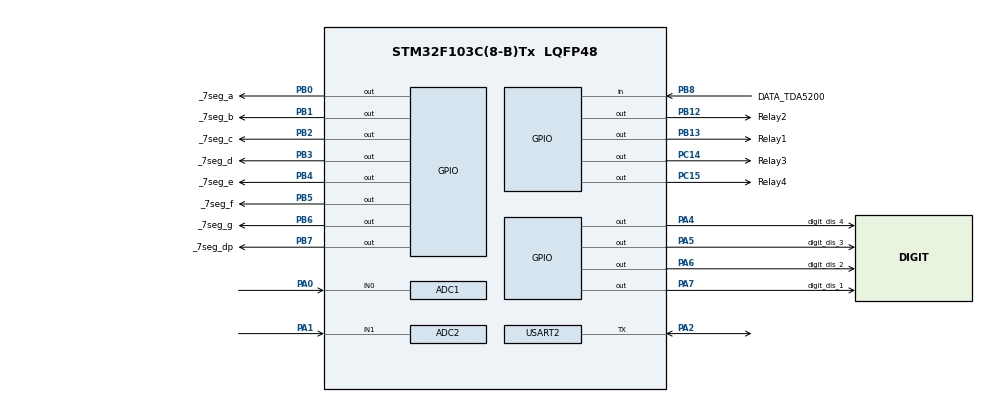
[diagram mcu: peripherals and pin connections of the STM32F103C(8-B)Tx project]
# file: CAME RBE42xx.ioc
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ADC1.Channel-0\#ChannelRegularConversion=ADC_CHANNEL_0
ADC1.NbrOfConversionFlag=1
ADC1.Rank-0\#ChannelRegularConversion=1
ADC1.SamplingTime-0\#ChannelRegularConversion=ADC_SAMPLETIME_1CYCLE_5
ADC1.master=1
ADC2.Channel-0\#ChannelRegularConversion=ADC_CHANNEL_1
ADC2.NbrOfConversionFlag=1
ADC2.Rank-0\#ChannelRegularConversion=1
ADC2.SamplingTime-0\#ChannelRegularConversion=ADC_SAMPLETIME_1CYCLE_5
Mcu.Family=STM32F1
Mcu.Name=STM32F103C(8-B)Tx
Mcu.Package=LQFP48
NVIC.PriorityGroup=NVIC_PRIORITYGROUP_4
NVIC.TIM3_IRQn=true\:0\:0\:false\:false\:true\:true\:true\:true
PA0-WKUP.Signal=ADCx_IN0
PA1.Signal=ADCx_IN1
PA13.Mode=Serial_Wire
PA13.Signal=SYS_JTMS-SWDIO
PA14.Mode=Serial_Wire
PA14.Signal=SYS_JTCK-SWCLK
PA2.Mode=Half_duplex(single_wire_mode)
PA2.Signal=USART2_TX
PA4.GPIO_Label=digit_dis_4
PA4.GPIO_PuPd=GPIO_PULLUP
PA4.PinState=GPIO_PIN_SET
PA4.Signal=GPIO_Output
PA5.GPIO_Label=digit_dis_3
PA5.GPIO_PuPd=GPIO_PULLUP
PA5.PinState=GPIO_PIN_SET
PA5.Signal=GPIO_Output
PA6.GPIO_Label=digit_dis_2
PA6.GPIO_PuPd=GPIO_PULLUP
PA6.PinState=GPIO_PIN_SET
PA6.Signal=GPIO_Output
PA7.GPIO_Label=digit_dis_1
PA7.GPIO_PuPd=GPIO_PULLUP
PA7.PinState=GPIO_PIN_SET
PA7.Signal=GPIO_Output
PB0.GPIO_Label=_7seg_a
PB0.GPIO_PuPd=GPIO_PULLDOWN
PB0.Signal=GPIO_Output
PB1.GPIO_Label=_7seg_b
PB1.GPIO_PuPd=GPIO_PULLDOWN
PB1.Signal=GPIO_Output
PB10.GPIO_Label=EEPROM_SCL
PB10.Signal=I2C2_SCL
PB11.GPIO_Label=EEPROM_SDA
PB11.Signal=I2C2_SDA
PB12.GPIO_Label=Relay2
PB12.Signal=GPIO_Output
PB13.GPIO_Label=Relay1
PB13.Signal=GPIO_Output
PB2.GPIO_Label=_7seg_c
PB2.GPIO_PuPd=GPIO_PULLDOWN
PB2.Signal=GPIO_Output
PB3.GPIO_Label=_7seg_d
PB3.Signal=GPIO_Output
PB4.GPIO_Label=_7seg_e
PB4.GPIO_PuPd=GPIO_PULLDOWN
PB4.Signal=GPIO_Output
PB5.GPIO_Label=_7seg_f
PB5.GPIO_PuPd=GPIO_PULLDOWN
PB5.Signal=GPIO_Output
PB6.GPIO_Label=_7seg_g
PB6.GPIO_PuPd=GPIO_PULLDOWN
PB6.Signal=GPIO_Output
PB7.GPIO_Label=_7seg_dp
PB7.GPIO_PuPd=GPIO_PULLDOWN
PB7.Signal=GPIO_Output
PB8.GPIO_Label=DATA_TDA5200
PB8.Signal=GPIO_Input
PC14-OSC32_IN.GPIO_Label=Relay3
PC14-OSC32_IN.Signal=GPIO_Output
PC15-OSC32_OUT.GPIO_Label=Relay4
PC15-OSC32_OUT.Signal=GPIO_Output
ProjectManager.HeapSize=0x200
ProjectManager.StackSize=0x400
ProjectManager.TargetToolchain=STM32CubeIDE
RCC.APB1Freq_Value=8000000
RCC.APB2Freq_Value=8000000
SH.ADCx_IN0.0=ADC1_IN0,IN0
SH.ADCx_IN1.0=ADC2_IN1,IN1
TIM3.Period=1664
USART2.VirtualMode=VM_ASYNC
VP_TIM3_VS_ClockSourceINT.Mode=Internal
board=custom

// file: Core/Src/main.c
/* USER CODE BEGIN Header */
/**
  ******************************************************************************
  * @file           : main.c
  * @brief          : Main program body
  ******************************************************************************
  * @attention
  *
  * Copyright (c) 2023 STMicroelectronics.
  * All rights reserved.
  *
  * This software is licensed under terms that can be found in the LICENSE file
  * in the root directory of this software component.
  * If no LICENSE file comes with this software, it is provided AS-IS.
  *
  ******************************************************************************
  */
/* USER CODE END Header */
#include "main.h"

/* USER CODE BEGIN Includes */
#include "stdbool.h"
/* USER CODE END Includes */

ADC_HandleTypeDef hadc1;
ADC_HandleTypeDef hadc2;

TIM_HandleTypeDef htim3;

UART_HandleTypeDef huart2;

/* USER CODE BEGIN PV */

int currentBit=0;
bool boolArray[];

/* USER CODE END PV */

void SystemClock_Config(void);
static void MX_GPIO_Init(void);
static void MX_ADC1_Init(void);
static void MX_ADC2_Init(void);
static void MX_TIM3_Init(void);
static void MX_USART2_UART_Init(void);
/* USER CODE BEGIN PFP */

#define PUTCHAR_PROTOTYPE int __io_putchar(int ch)

/* USER CODE END PFP */

/* USER CODE BEGIN 0 */

void TIM3_test(){
	//for (int a=1; a<20; a++){

		//int delai=100;
		//HAL_GPIO_WritePin(TXDATA_GPIO_Port, TXDATA_Pin, GPIO_PIN_SET);
		//HAL_GPIO_WritePin(LED_GPIO_Port, LED_Pin, GPIO_PIN_SET);

		//printf(htim22.Instance->CNT);
		//int test = htim22.Instance->CNT;

		//sprintf(UartBuffOut, "test");
		//HAL_UART_Transmit(&huart1, UartBuffOut, strlen(UartBuffOut), 1000);

		//printf("test");
		//sprintf("test2");
		//HAL_GPIO_WritePin(TXDATA_GPIO_Port, TXDATA_Pin, GPIO_PIN_RESET);
		//HAL_GPIO_WritePin(LED_GPIO_Port, LED_Pin, GPIO_PIN_RESET);

	//}

}

bool boolArray[99];

/* USER CODE END 0 */

int main(void)
{

  /* MCU Configuration--------------------------------------------------------*/

  /* Reset of all peripherals, Initializes the Flash interface and the Systick. */
  HAL_Init();

  /* Configure the system clock */
  SystemClock_Config();

  /* Initialize all configured peripherals */
  MX_GPIO_Init();
  MX_ADC1_Init();
  MX_ADC2_Init();
  MX_TIM3_Init();
  MX_USART2_UART_Init();

  /* Infinite loop */
  while (1)
  {

    /* USER CODE BEGIN 3 */

	/*
	HAL_GPIO_WritePin(GPIOA, digit_dis_1_Pin, GPIO_PIN_SET);
	HAL_GPIO_WritePin(GPIOA, digit_dis_2_Pin, GPIO_PIN_SET);
	HAL_GPIO_WritePin(GPIOA, digit_dis_3_Pin, GPIO_PIN_SET);
	HAL_GPIO_WritePin(GPIOA, digit_dis_4_Pin, GPIO_PIN_SET);

	HAL_GPIO_WritePin(GPIOB, _7seg_a_Pin, GPIO_PIN_SET);
	HAL_GPIO_WritePin(GPIOB, _7seg_b_Pin, GPIO_PIN_SET);
	HAL_GPIO_WritePin(GPIOB, _7seg_c_Pin, GPIO_PIN_SET);
	HAL_GPIO_WritePin(GPIOB, _7seg_d_Pin, GPIO_PIN_SET);
	HAL_GPIO_WritePin(GPIOB, _7seg_e_Pin, GPIO_PIN_SET);
	HAL_GPIO_WritePin(GPIOB, _7seg_f_Pin, GPIO_PIN_SET);
	HAL_GPIO_WritePin(GPIOB, _7seg_g_Pin, GPIO_PIN_SET);
	HAL_GPIO_WritePin(GPIOB, _7seg_dp_Pin, GPIO_PIN_SET);

	//HAL_Delay(100);
	HAL_GPIO_WritePin(GPIOA, digit_dis_1_Pin, GPIO_PIN_SET);
	HAL_GPIO_WritePin(GPIOA, digit_dis_2_Pin, GPIO_PIN_SET);
	HAL_GPIO_WritePin(GPIOA, digit_dis_3_Pin, GPIO_PIN_SET);
	HAL_GPIO_WritePin(GPIOA, digit_dis_4_Pin, GPIO_PIN_SET);
	HAL_GPIO_WritePin(GPIOA, digit_dis_1_Pin, GPIO_PIN_RESET);
	HAL_Delay(1);
	HAL_GPIO_WritePin(GPIOA, digit_dis_1_Pin, GPIO_PIN_SET);
	HAL_GPIO_WritePin(GPIOA, digit_dis_2_Pin, GPIO_PIN_SET);
	HAL_GPIO_WritePin(GPIOA, digit_dis_3_Pin, GPIO_PIN_SET);
	HAL_GPIO_WritePin(GPIOA, digit_dis_4_Pin, GPIO_PIN_SET);
	HAL_GPIO_WritePin(GPIOA, digit_dis_2_Pin, GPIO_PIN_RESET);
	HAL_Delay(1);
	HAL_GPIO_WritePin(GPIOA, digit_dis_1_Pin, GPIO_PIN_SET);
	HAL_GPIO_WritePin(GPIOA, digit_dis_2_Pin, GPIO_PIN_SET);
	HAL_GPIO_WritePin(GPIOA, digit_dis_3_Pin, GPIO_PIN_SET);
	HAL_GPIO_WritePin(GPIOA, digit_dis_4_Pin, GPIO_PIN_SET);
	HAL_GPIO_WritePin(GPIOA, digit_dis_3_Pin, GPIO_PIN_RESET);
	HAL_Delay(1);
	HAL_GPIO_WritePin(GPIOA, digit_dis_1_Pin, GPIO_PIN_SET);
	HAL_GPIO_WritePin(GPIOA, digit_dis_2_Pin, GPIO_PIN_SET);
	HAL_GPIO_WritePin(GPIOA, digit_dis_3_Pin, GPIO_PIN_SET);
	HAL_GPIO_WritePin(GPIOA, digit_dis_4_Pin, GPIO_PIN_SET);
	HAL_GPIO_WritePin(GPIOA, digit_dis_4_Pin, GPIO_PIN_RESET);
	HAL_Delay(1);
	*/

	HAL_GPIO_WritePin(GPIOB, _7seg_a_Pin, GPIO_PIN_SET);
	HAL_GPIO_WritePin(GPIOB, _7seg_b_Pin, GPIO_PIN_SET);
	HAL_GPIO_WritePin(GPIOB, _7seg_c_Pin, GPIO_PIN_SET);
	HAL_GPIO_WritePin(GPIOB, _7seg_d_Pin, GPIO_PIN_SET);
	HAL_GPIO_WritePin(GPIOB, _7seg_e_Pin, GPIO_PIN_SET);
	HAL_GPIO_WritePin(GPIOB, _7seg_f_Pin, GPIO_PIN_SET);
	HAL_GPIO_WritePin(GPIOB, _7seg_g_Pin, GPIO_PIN_SET);
	HAL_GPIO_WritePin(GPIOB, _7seg_dp_Pin, GPIO_PIN_SET);

	HAL_ADC_Start(&hadc1);
	HAL_ADC_Start(&hadc2);
	HAL_ADC_PollForConversion(&hadc1, HAL_MAX_DELAY);
	HAL_ADC_PollForConversion(&hadc2, HAL_MAX_DELAY);

	uint32_t adc1_value = HAL_ADC_GetValue(&hadc1);
	uint32_t adc2_value = HAL_ADC_GetValue(&hadc2);

	bool rf_data;

	//while (rf_data != 0){

		if (HAL_GPIO_ReadPin(DATA_TDA5200_GPIO_Port, DATA_TDA5200_Pin) == GPIO_PIN_RESET) {
			if (HAL_TIM_Base_Start_IT(&htim3) != HAL_OK) //Timer 3 start
			{
			/* Starting Error */
			Error_Handler();
			}
			while (currentBit < 100) {} //wait

			HAL_TIM_Base_Stop_IT(&htim3); //Timer 3 stop
			if (currentBit >= 99) {currentBit = 0;}

			if ( (boolArray[58] == 0) && (boolArray[57] == 0) && (boolArray[56] == 0) && (boolArray[55] == 1) && (boolArray[54] == 1) && (boolArray[53] == 0) && (boolArray[52] == 1) && (boolArray[51] == 1) && (boolArray[50] == 1)  )
			{
				HAL_GPIO_TogglePin(Relay1_GPIO_Port, Relay1_Pin);
				for (int i=0; i<65; i++)
				{
					printf("%d", boolArray[i]);
				}
				printf("\n");
				HAL_Delay(800);
			}
		}
		//boolArray;

		/*int __io_putchar(int ch) {
		    ITM_SendChar(ch);
		    return ch;
		}*/
		/*
		else if(rf_data == 1){
			HAL_GPIO_WritePin(GPIOA, digit_dis_1_Pin, GPIO_PIN_SET);
			HAL_GPIO_WritePin(GPIOA, digit_dis_2_Pin, GPIO_PIN_SET);
			HAL_GPIO_WritePin(GPIOA, digit_dis_3_Pin, GPIO_PIN_SET);
			HAL_GPIO_WritePin(GPIOA, digit_dis_4_Pin, GPIO_PIN_SET);
			//HAL_Delay(10);
		}
		*/

  	  //}

		if (adc2_value < 1000){
		HAL_GPIO_WritePin(GPIOA, digit_dis_1_Pin, GPIO_PIN_SET);
		HAL_GPIO_WritePin(GPIOA, digit_dis_2_Pin, GPIO_PIN_SET);
		HAL_GPIO_WritePin(GPIOA, digit_dis_3_Pin, GPIO_PIN_SET);
		HAL_GPIO_WritePin(GPIOA, digit_dis_4_Pin, GPIO_PIN_SET);
		HAL_GPIO_WritePin(GPIOA, digit_dis_1_Pin, GPIO_PIN_RESET);
		//printf("Hello World!\n");
		HAL_Delay(100);
	}

	else if (adc1_value < 1000){
		HAL_GPIO_WritePin(GPIOA, digit_dis_1_Pin, GPIO_PIN_SET);
		HAL_GPIO_WritePin(GPIOA, digit_dis_2_Pin, GPIO_PIN_SET);
		HAL_GPIO_WritePin(GPIOA, digit_dis_3_Pin, GPIO_PIN_SET);
		HAL_GPIO_WritePin(GPIOA, digit_dis_4_Pin, GPIO_PIN_SET);
		HAL_GPIO_WritePin(GPIOA, digit_dis_2_Pin, GPIO_PIN_RESET);
		HAL_Delay(100);
	}
	else if (adc2_value > 2000){
		HAL_GPIO_WritePin(GPIOA, digit_dis_1_Pin, GPIO_PIN_SET);
		HAL_GPIO_WritePin(GPIOA, digit_dis_2_Pin, GPIO_PIN_SET);
		HAL_GPIO_WritePin(GPIOA, digit_dis_3_Pin, GPIO_PIN_SET);
		HAL_GPIO_WritePin(GPIOA, digit_dis_4_Pin, GPIO_PIN_SET);
		HAL_GPIO_WritePin(GPIOA, digit_dis_3_Pin, GPIO_PIN_RESET);
		HAL_Delay(100);
	}
	else if (adc1_value > 2000){
		HAL_GPIO_WritePin(GPIOA, digit_dis_1_Pin, GPIO_PIN_SET);
		HAL_GPIO_WritePin(GPIOA, digit_dis_2_Pin, GPIO_PIN_SET);
		HAL_GPIO_WritePin(GPIOA, digit_dis_3_Pin, GPIO_PIN_SET);
		HAL_GPIO_WritePin(GPIOA, digit_dis_4_Pin, GPIO_PIN_SET);
		HAL_GPIO_WritePin(GPIOA, digit_dis_4_Pin, GPIO_PIN_RESET);
		HAL_Delay(100);
	}

  }
  /* USER CODE END 3 */
}

void SystemClock_Config(void)
{
  RCC_OscInitTypeDef RCC_OscInitStruct = {0};
  RCC_ClkInitTypeDef RCC_ClkInitStruct = {0};
  RCC_PeriphCLKInitTypeDef PeriphClkInit = {0};

  /** Initializes the RCC Oscillators according to the specified parameters
  * in the RCC_OscInitTypeDef structure.
  */
  RCC_OscInitStruct.OscillatorType = RCC_OSCILLATORTYPE_HSI;
  RCC_OscInitStruct.HSIState = RCC_HSI_ON;
  RCC_OscInitStruct.HSICalibrationValue = RCC_HSICALIBRATION_DEFAULT;
  RCC_OscInitStruct.PLL.PLLState = RCC_PLL_NONE;
  if (HAL_RCC_OscConfig(&RCC_OscInitStruct) != HAL_OK)
  {
    Error_Handler();
  }

  /** Initializes the CPU, AHB and APB buses clocks
  */
  RCC_ClkInitStruct.ClockType = RCC_CLOCKTYPE_HCLK|RCC_CLOCKTYPE_SYSCLK
                              |RCC_CLOCKTYPE_PCLK1|RCC_CLOCKTYPE_PCLK2;
  RCC_ClkInitStruct.SYSCLKSource = RCC_SYSCLKSOURCE_HSI;
  RCC_ClkInitStruct.AHBCLKDivider = RCC_SYSCLK_DIV1;
  RCC_ClkInitStruct.APB1CLKDivider = RCC_HCLK_DIV1;
  RCC_ClkInitStruct.APB2CLKDivider = RCC_HCLK_DIV1;

  if (HAL_RCC_ClockConfig(&RCC_ClkInitStruct, FLASH_LATENCY_0) != HAL_OK)
  {
    Error_Handler();
  }
  PeriphClkInit.PeriphClockSelection = RCC_PERIPHCLK_ADC;
  PeriphClkInit.AdcClockSelection = RCC_ADCPCLK2_DIV2;
  if (HAL_RCCEx_PeriphCLKConfig(&PeriphClkInit) != HAL_OK)
  {
    Error_Handler();
  }
}

static void MX_ADC1_Init(void)
{

  ADC_ChannelConfTypeDef sConfig = {0};

  /** Common config
  */
  hadc1.Instance = ADC1;
  hadc1.Init.ScanConvMode = ADC_SCAN_DISABLE;
  hadc1.Init.ContinuousConvMode = DISABLE;
  hadc1.Init.DiscontinuousConvMode = DISABLE;
  hadc1.Init.ExternalTrigConv = ADC_SOFTWARE_START;
  hadc1.Init.DataAlign = ADC_DATAALIGN_RIGHT;
  hadc1.Init.NbrOfConversion = 1;
  if (HAL_ADC_Init(&hadc1) != HAL_OK)
  {
    Error_Handler();
  }

  /** Configure Regular Channel
  */
  sConfig.Channel = ADC_CHANNEL_0;
  sConfig.Rank = ADC_REGULAR_RANK_1;
  sConfig.SamplingTime = ADC_SAMPLETIME_1CYCLE_5;
  if (HAL_ADC_ConfigChannel(&hadc1, &sConfig) != HAL_OK)
  {
    Error_Handler();
  }

}

static void MX_ADC2_Init(void)
{

  ADC_ChannelConfTypeDef sConfig = {0};

  /** Common config
  */
  hadc2.Instance = ADC2;
  hadc2.Init.ScanConvMode = ADC_SCAN_DISABLE;
  hadc2.Init.ContinuousConvMode = DISABLE;
  hadc2.Init.DiscontinuousConvMode = DISABLE;
  hadc2.Init.ExternalTrigConv = ADC_SOFTWARE_START;
  hadc2.Init.DataAlign = ADC_DATAALIGN_RIGHT;
  hadc2.Init.NbrOfConversion = 1;
  if (HAL_ADC_Init(&hadc2) != HAL_OK)
  {
    Error_Handler();
  }

  /** Configure Regular Channel
  */
  sConfig.Channel = ADC_CHANNEL_1;
  sConfig.Rank = ADC_REGULAR_RANK_1;
  sConfig.SamplingTime = ADC_SAMPLETIME_1CYCLE_5;
  if (HAL_ADC_ConfigChannel(&hadc2, &sConfig) != HAL_OK)
  {
    Error_Handler();
  }

}

static void MX_TIM3_Init(void)
{

  TIM_ClockConfigTypeDef sClockSourceConfig = {0};
  TIM_MasterConfigTypeDef sMasterConfig = {0};

  htim3.Instance = TIM3;
  htim3.Init.Prescaler = 0;
  htim3.Init.CounterMode = TIM_COUNTERMODE_UP;
  htim3.Init.Period = 1664;
  htim3.Init.ClockDivision = TIM_CLOCKDIVISION_DIV1;
  htim3.Init.AutoReloadPreload = TIM_AUTORELOAD_PRELOAD_DISABLE;
  if (HAL_TIM_Base_Init(&htim3) != HAL_OK)
  {
    Error_Handler();
  }
  sClockSourceConfig.ClockSource = TIM_CLOCKSOURCE_INTERNAL;
  if (HAL_TIM_ConfigClockSource(&htim3, &sClockSourceConfig) != HAL_OK)
  {
    Error_Handler();
  }
  sMasterConfig.MasterOutputTrigger = TIM_TRGO_RESET;
  sMasterConfig.MasterSlaveMode = TIM_MASTERSLAVEMODE_DISABLE;
  if (HAL_TIMEx_MasterConfigSynchronization(&htim3, &sMasterConfig) != HAL_OK)
  {
    Error_Handler();
  }

}

static void MX_USART2_UART_Init(void)
{

  huart2.Instance = USART2;
  huart2.Init.BaudRate = 115200;
  huart2.Init.WordLength = UART_WORDLENGTH_8B;
  huart2.Init.StopBits = UART_STOPBITS_1;
  huart2.Init.Parity = UART_PARITY_NONE;
  huart2.Init.Mode = UART_MODE_TX_RX;
  huart2.Init.HwFlowCtl = UART_HWCONTROL_NONE;
  huart2.Init.OverSampling = UART_OVERSAMPLING_16;
  if (HAL_HalfDuplex_Init(&huart2) != HAL_OK)
  {
    Error_Handler();
  }

}

static void MX_GPIO_Init(void)
{
  GPIO_InitTypeDef GPIO_InitStruct = {0};

  /* GPIO Ports Clock Enable */
  __HAL_RCC_GPIOC_CLK_ENABLE();
  __HAL_RCC_GPIOA_CLK_ENABLE();
  __HAL_RCC_GPIOB_CLK_ENABLE();

  /*Configure GPIO pin Output Level */
  HAL_GPIO_WritePin(GPIOC, Relay3_Pin|Relay4_Pin, GPIO_PIN_RESET);

  /*Configure GPIO pin Output Level */
  HAL_GPIO_WritePin(GPIOA, digit_dis_4_Pin|digit_dis_3_Pin|digit_dis_2_Pin|digit_dis_1_Pin, GPIO_PIN_SET);

  /*Configure GPIO pin Output Level */
  HAL_GPIO_WritePin(GPIOB, _7seg_a_Pin|_7seg_b_Pin|_7seg_c_Pin|Relay2_Pin
                          |Relay1_Pin|_7seg_d_Pin|_7seg_e_Pin|_7seg_f_Pin
                          |_7seg_g_Pin|_7seg_dp_Pin, GPIO_PIN_RESET);

  /*Configure GPIO pins : Relay3_Pin Relay4_Pin */
  GPIO_InitStruct.Pin = Relay3_Pin|Relay4_Pin;
  GPIO_InitStruct.Mode = GPIO_MODE_OUTPUT_PP;
  GPIO_InitStruct.Pull = GPIO_NOPULL;
  GPIO_InitStruct.Speed = GPIO_SPEED_FREQ_LOW;
  HAL_GPIO_Init(GPIOC, &GPIO_InitStruct);

  /*Configure GPIO pins : digit_dis_4_Pin digit_dis_3_Pin digit_dis_2_Pin digit_dis_1_Pin */
  GPIO_InitStruct.Pin = digit_dis_4_Pin|digit_dis_3_Pin|digit_dis_2_Pin|digit_dis_1_Pin;
  GPIO_InitStruct.Mode = GPIO_MODE_OUTPUT_PP;
  GPIO_InitStruct.Pull = GPIO_PULLUP;
  GPIO_InitStruct.Speed = GPIO_SPEED_FREQ_LOW;
  HAL_GPIO_Init(GPIOA, &GPIO_InitStruct);

  /*Configure GPIO pins : _7seg_a_Pin _7seg_b_Pin _7seg_c_Pin _7seg_e_Pin
                           _7seg_f_Pin _7seg_g_Pin _7seg_dp_Pin */
  GPIO_InitStruct.Pin = _7seg_a_Pin|_7seg_b_Pin|_7seg_c_Pin|_7seg_e_Pin
                          |_7seg_f_Pin|_7seg_g_Pin|_7seg_dp_Pin;
  GPIO_InitStruct.Mode = GPIO_MODE_OUTPUT_PP;
  GPIO_InitStruct.Pull = GPIO_PULLDOWN;
  GPIO_InitStruct.Speed = GPIO_SPEED_FREQ_LOW;
  HAL_GPIO_Init(GPIOB, &GPIO_InitStruct);

  /*Configure GPIO pins : EEPROM_SCL_Pin EEPROM_SDA_Pin */
  GPIO_InitStruct.Pin = EEPROM_SCL_Pin|EEPROM_SDA_Pin;
  GPIO_InitStruct.Mode = GPIO_MODE_AF_OD;
  GPIO_InitStruct.Speed = GPIO_SPEED_FREQ_HIGH;
  HAL_GPIO_Init(GPIOB, &GPIO_InitStruct);

  /*Configure GPIO pins : Relay2_Pin Relay1_Pin _7seg_d_Pin */
  GPIO_InitStruct.Pin = Relay2_Pin|Relay1_Pin|_7seg_d_Pin;
  GPIO_InitStruct.Mode = GPIO_MODE_OUTPUT_PP;
  GPIO_InitStruct.Pull = GPIO_NOPULL;
  GPIO_InitStruct.Speed = GPIO_SPEED_FREQ_LOW;
  HAL_GPIO_Init(GPIOB, &GPIO_InitStruct);

  /*Configure GPIO pin : DATA_TDA5200_Pin */
  GPIO_InitStruct.Pin = DATA_TDA5200_Pin;
  GPIO_InitStruct.Mode = GPIO_MODE_INPUT;
  GPIO_InitStruct.Pull = GPIO_NOPULL;
  HAL_GPIO_Init(DATA_TDA5200_GPIO_Port, &GPIO_InitStruct);

}

/* USER CODE BEGIN 4 */

PUTCHAR_PROTOTYPE{
  /* Place your implementation of fputc here */
  /* e.g. write a character to the USART1 and Loop until the end of transmission */
  HAL_UART_Transmit(&huart2, (uint8_t *)&ch, 1, 0xFFFF);

  return ch;
}

/* USER CODE END 4 */

void Error_Handler(void)
{
  __disable_irq();
  while (1)
  {
  }
}
